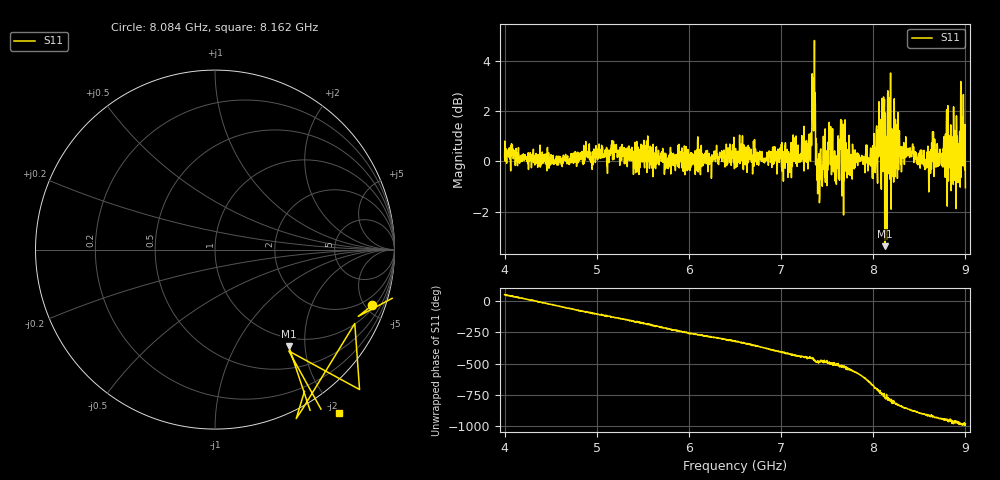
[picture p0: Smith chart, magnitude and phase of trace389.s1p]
! Created with skrf 1.8.0 (http://scikit-rf.org).
# Hz S RI R 50.0
!freq ReS11 ImS11
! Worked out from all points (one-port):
!   1601 points, 4 GHz to 9 GHz, reference 50 ohm
!   lowest |S11| = -3.4 dB at 8.125 GHz (marker M1), VSWR 5.22, Z = 42.3 - j84.6 ohm
!   |S11| at or under -10 dB: nowhere
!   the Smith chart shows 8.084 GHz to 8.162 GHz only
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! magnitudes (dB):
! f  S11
! 4 GHz  0.2
! 4.625 GHz  -0.2
! 5.25 GHz  -0.2
! 5.875 GHz  -0.1
! 6.5 GHz  0.2
! 7.125 GHz  0.1
! 7.297 GHz  0.5
! 7.347 GHz  2.4
! 7.362 GHz  4.8
! 7.4 GHz  -0.3
! 7.422 GHz  -0.5
! 7.538 GHz  1.4
! 7.588 GHz  0.2
! 7.647 GHz  1.7
! 7.75 GHz  -0.3
! 8.003 GHz  0.1
! 8.056 GHz  0.2
! 8.066 GHz  0.5
! 8.097 GHz  0.5
! 8.125 GHz  -3.4
! 8.15 GHz  -3.1
! 8.178 GHz  2.5
! 8.197 GHz  -0.2
! 8.375 GHz  0.3
! 8.919 GHz  -0.8
! 8.953 GHz  -0.6
! 8.972 GHz  0.7
! 9 GHz  -1.0
